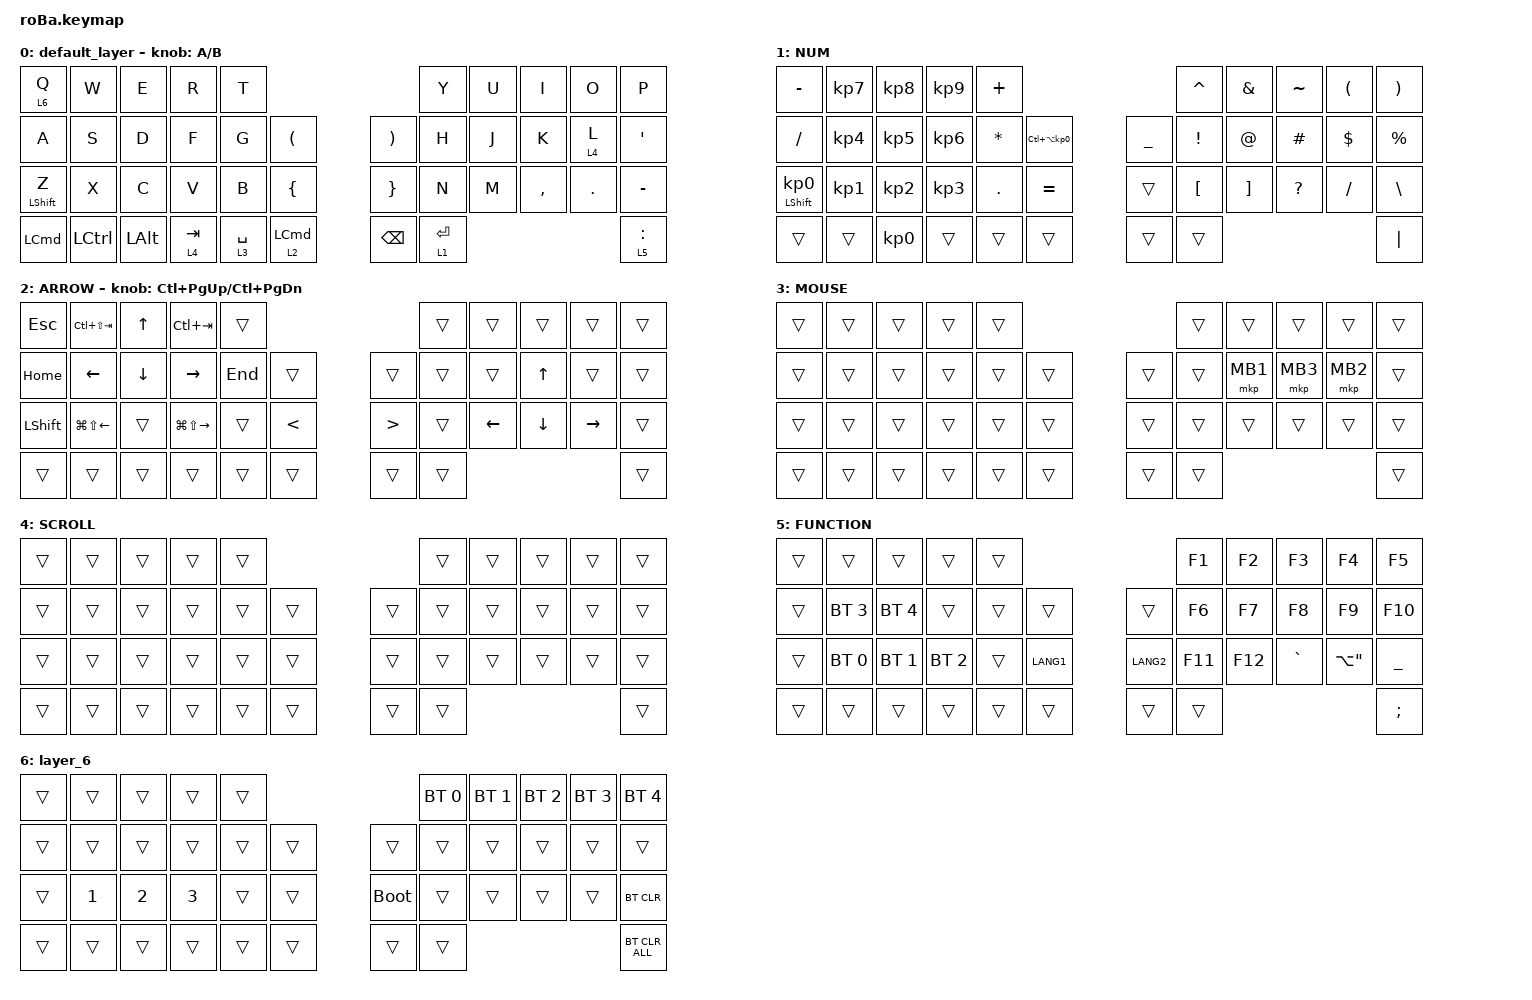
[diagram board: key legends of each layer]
#include <behaviors.dtsi>
#include <dt-bindings/zmk/bt.h>
#include <dt-bindings/zmk/keys.h>
#include <dt-bindings/zmk/pointing.h>

#define MOUSE 4
#define SCROLL 5
#define NUM 6

&mt {
    flavor = "balanced";
    quick-tap-ms = <0>;
};

/ {
    combos {
        compatible = "zmk,combos";

        tab {
            bindings = <&kp TAB>;
            key-positions = <11 12>;
        };

        shift_tab {
            bindings = <&kp LS(TAB)>;
            key-positions = <12 13>;
        };

        muhennkann {
            bindings = <&to_layer_0 INT_MUHENKAN>;
            key-positions = <11 10>;
        };

        double_quotation {
            bindings = <&kp DOUBLE_QUOTES>;
            key-positions = <20 21>;
        };

        eq {
            bindings = <&kp EQUAL>;
            key-positions = <24 25>;
        };

        esc {
            bindings = <&kp ESCAPE>;
            key-positions = <0 1>;
        };

        haihun {
            bindings = <&kp MINUS>;
            key-positions = <18 19>;
        };

        underscore {
            bindings = <&kp UNDERSCORE>;
            key-positions = <30 31>;
        };

        lang1 {
            bindings = <&kp LANGUAGE_1>;
            key-positions = <16 17>;
        };

        lang2 {
            bindings = <&kp LANGUAGE_2>;
            key-positions = <28 29>;
        };
    };

    macros {
        to_layer_0: to_layer_0 {
            compatible = "zmk,behavior-macro-one-param";
            #binding-cells = <1>;
            bindings = <&to 0 &macro_param_1to1 &kp MACRO_PLACEHOLDER>;
            label = "TO_LAYER_0";
        };
    };

    behaviors {
        lt_to_layer_0: lt_to_layer_0 {
            compatible = "zmk,behavior-hold-tap";
            label = "LAYER_TAP_TO_0";
            bindings = <&mo>, <&to_layer_0>;

            #binding-cells = <2>;
            tapping-term-ms = <200>;
        };
    };

    keymap {
        compatible = "zmk,keymap";

        default_layer {
            bindings = <
&lt_to_layer_0 6 Q  &kp W             &kp E         &kp R                 &kp T                                                                  &kp Y        &kp U  &kp I      &kp O       &kp P
&kp A               &kp S             &kp D         &kp F                 &kp G        &kp LEFT_PARENTHESIS               &kp RIGHT_PARENTHESIS  &kp H        &kp J  &kp K      &lt 4 L     &kp SQT
&mt LEFT_SHIFT Z    &kp X             &kp C         &kp V                 &kp B        &kp LEFT_BRACE                     &kp RIGHT_BRACE        &kp N        &kp M  &kp COMMA  &kp PERIOD  &kp MINUS
&kp LEFT_COMMAND    &kp LEFT_CONTROL  &kp LEFT_ALT  &lt_to_layer_0 4 TAB  &lt 3 SPACE  &lt_to_layer_0 2 LEFT_COMMAND      &kp BACKSPACE          &lt 1 ENTER                                &lt_to_layer_0 5 COLON
            >;

            sensor-bindings = <&inc_dec_kp A B>;
        };

        NUM {
            bindings = <
&kp MINUS                   &kp KP_NUMBER_7  &kp KP_NUMBER_8  &kp KP_NUMBER_9  &kp PLUS                                                   &kp CARET         &kp AMPERSAND      &kp TILDE     &kp LEFT_PARENTHESIS  &kp RIGHT_PARENTHESIS
&kp SLASH                   &kp KP_NUMBER_4  &kp KP_NUMBER_5  &kp KP_NUMBER_6  &kp ASTERISK  &kp LC(LA(KP_NUMBER_0))      &kp UNDERSCORE  &kp EXCLAMATION   &kp AT_SIGN        &kp HASH      &kp DOLLAR            &kp PERCENT
&mt LEFT_SHIFT KP_NUMBER_0  &kp KP_NUMBER_1  &kp KP_NUMBER_2  &kp KP_NUMBER_3  &kp PERIOD    &kp EQUAL                    &trans          &kp LEFT_BRACKET  &kp RIGHT_BRACKET  &kp QUESTION  &kp SLASH             &kp BACKSLASH
&trans                      &trans           &kp KP_NUMBER_0  &trans           &trans        &trans                       &trans          &trans                                                                   &kp PIPE
            >;
        };

        ARROW {
            bindings = <
&kp ESCAPE      &kp LC(LS(TAB))         &kp UP_ARROW    &kp LC(TAB)              &trans                                        &trans  &trans          &trans          &trans           &trans
&kp HOME        &kp LEFT_ARROW          &kp DOWN_ARROW  &kp RIGHT_ARROW          &kp END  &trans             &trans            &trans  &trans          &kp UP_ARROW    &trans           &trans
&kp LEFT_SHIFT  &kp LG(LS(LEFT_ARROW))  &trans          &kp LG(LS(RIGHT_ARROW))  &trans   &kp LESS_THAN      &kp GREATER_THAN  &trans  &kp LEFT_ARROW  &kp DOWN_ARROW  &kp RIGHT_ARROW  &trans
&trans          &trans                  &trans          &trans                   &trans   &trans             &trans            &trans                                                   &trans
            >;

            sensor-bindings = <&inc_dec_kp LC(PAGE_UP) LC(PAGE_DOWN)>;
        };

        MOUSE {
            bindings = <
&trans  &trans  &trans  &trans  &trans                      &trans  &trans    &trans    &trans    &trans
&trans  &trans  &trans  &trans  &trans  &trans      &trans  &trans  &mkp MB1  &mkp MB3  &mkp MB2  &trans
&trans  &trans  &trans  &trans  &trans  &trans      &trans  &trans  &trans    &trans    &trans    &trans
&trans  &trans  &trans  &trans  &trans  &trans      &trans  &trans                                &trans
            >;
        };

        SCROLL {
            bindings = <
&trans  &trans  &trans  &trans  &trans                      &trans  &trans  &trans  &trans  &trans
&trans  &trans  &trans  &trans  &trans  &trans      &trans  &trans  &trans  &trans  &trans  &trans
&trans  &trans  &trans  &trans  &trans  &trans      &trans  &trans  &trans  &trans  &trans  &trans
&trans  &trans  &trans  &trans  &trans  &trans      &trans  &trans                          &trans
            >;
        };

        FUNCTION {
            bindings = <
&trans  &trans        &trans        &trans        &trans                            &kp F1   &kp F2   &kp F3     &kp F4                 &kp F5
&trans  &bt BT_SEL 3  &bt BT_SEL 4  &trans        &trans  &trans         &trans     &kp F6   &kp F7   &kp F8     &kp F9                 &kp F10
&trans  &bt BT_SEL 0  &bt BT_SEL 1  &bt BT_SEL 2  &trans  &kp LANG1      &kp LANG2  &kp F11  &kp F12  &kp GRAVE  &kp LA(DOUBLE_QUOTES)  &kp UNDER
&trans  &trans        &trans        &trans        &trans  &trans         &trans     &trans                                              &kp SEMICOLON
            >;
        };

        layer_6 {
            bindings = <
&trans  &trans        &trans        &trans        &trans                           &bt BT_SEL 0  &bt BT_SEL 1  &bt BT_SEL 2  &bt BT_SEL 3  &bt BT_SEL 4
&trans  &trans        &trans        &trans        &trans  &trans      &trans       &trans        &trans        &trans        &trans        &trans
&trans  &kp NUMBER_1  &kp NUMBER_2  &kp NUMBER_3  &trans  &trans      &bootloader  &trans        &trans        &trans        &trans        &bt BT_CLR
&trans  &trans        &trans        &trans        &trans  &trans      &trans       &trans                                                  &bt BT_CLR_ALL
            >;
        };
    };
};
